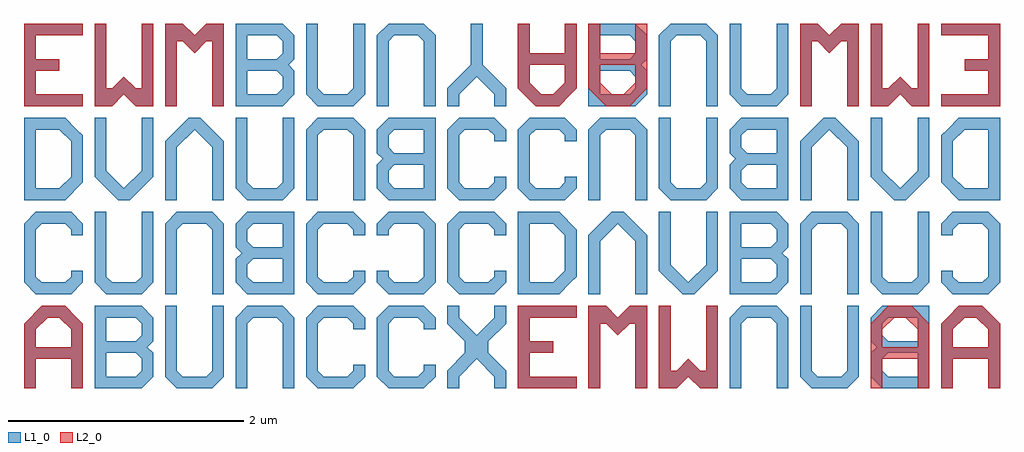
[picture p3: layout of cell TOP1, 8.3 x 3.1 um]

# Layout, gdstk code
from math import pi, radians
import gdstk
lib = gdstk.Library(unit=1e-6, precision=1e-09)
def P(c, l, *ps):  # polygons
    for p in ps: c.add(gdstk.Polygon(p, *l))
L1_0 = (1, 0)
L2_0 = (2, 0)

text_1 = lib.new_cell('TEXT$1')
P(text_1, L1_0, [(0,0),(0,0.55),(0.15,0.7),(0.35,0.7),(0.45,0.6),(0.2,0.6),(0.1,0.5),(0.1,0.35),(0.4,0.35),(0.4,0.5),(0.3,0.6),(0.45,0.6),(0.5,0.55),(0.5,0),(0.4,0),(0.4,0.25),(0.1,0.25),(0.1,0)])

text = lib.new_cell('TEXT')
P(text, L1_0, [(0,0),(0,0.7),(0.4,0.7),(0.5,0.6),(0.1,0.6),(0.1,0.4),(0.35,0.4),(0.4,0.45),(0.4,0.55),(0.35,0.6),(0.5,0.6),(0.5,0.4),(0.45,0.35),(0.5,0.3),(0.1,0.3),(0.1,0.1),(0.35,0.1),(0.4,0.15),(0.4,0.25),(0.35,0.3),(0.5,0.3),(0.5,0.1),(0.4,0)])

text_5 = lib.new_cell('TEXT$5')
P(text_5, L1_0, [(0.1,0),(0,0.1),(0,0.7),(0.1,0.7),(0.1,0.15),(0.15,0.1),(0.35,0.1),(0.4,0.15),(0.4,0.7),(0.5,0.7),(0.5,0.1),(0.4,0)])

c_u = lib.new_cell('U')
c_u.add(gdstk.Reference(text_5, (0,0)))

c_b = lib.new_cell('B')
c_b.add(gdstk.Reference(text, (0,0)))
c_b.add(gdstk.Reference(c_u, (0.6,0)))
c_b.add(gdstk.Reference(c_u, (1.7,0.7), rotation=pi))

text_2 = lib.new_cell('TEXT$2')
P(text_2, L1_0, [(0.1,0),(0,0.1),(0,0.6),(0.1,0.7),(0.4,0.7),(0.5,0.6),(0.5,0.5),(0.4,0.5),(0.4,0.55),(0.35,0.6),(0.15,0.6),(0.1,0.55),(0.1,0.15),(0.15,0.1),(0.35,0.1),(0.4,0.15),(0.4,0.2),(0.5,0.2),(0.5,0.1),(0.4,0)])

c_c = lib.new_cell('C')
c_c.add(gdstk.Reference(text_2, (0,0)))

text_3 = lib.new_cell('TEXT$3')
P(text_3, L1_0, [(0,0),(0,0.7),(0.35,0.7),(0.45,0.6),(0.1,0.6),(0.1,0.1),(0.3,0.1),(0.4,0.2),(0.4,0.5),(0.3,0.6),(0.45,0.6),(0.5,0.55),(0.5,0.15),(0.35,0)])

text_6 = lib.new_cell('TEXT$6')
P(text_6, L1_0, [(0.2,0),(0,0.2),(0,0.7),(0.1,0.7),(0.1,0.25),(0.25,0.1),(0.4,0.25),(0.4,0.7),(0.5,0.7),(0.5,0.2),(0.3,0)])

c_v = lib.new_cell('V')
c_v.add(gdstk.Reference(text_6, (0,0)))

c_d = lib.new_cell('D')
c_d.add(gdstk.Reference(text_3, (0,0)))
c_d.add(gdstk.Reference(c_v, (0.6,0)))
c_d.add(gdstk.Reference(c_v, (1.7,0.7), rotation=pi))

text_4 = lib.new_cell('TEXT$4')
P(text_4, L1_0, [(0,0),(0,0.7),(0.5,0.7),(0.5,0.6),(0.1,0.6),(0.1,0.4),(0.3,0.4),(0.3,0.3),(0.1,0.3),(0.1,0.1),(0.5,0.1),(0.5,0)])

text_7 = lib.new_cell('TEXT$7')
P(text_7, L1_0, [(0,0),(0,0.7),(0.1,0.7),(0.1,0.15),(0.15,0.15),(0.25,0.25),(0.35,0.15),(0.4,0.15),(0.4,0.7),(0.5,0.7),(0.5,0),(0.35,0),(0.25,0.1),(0.15,0)])

text_4_1 = lib.new_cell('TEXT$4$1')
P(text_4_1, L2_0, [(0,0),(0,0.7),(0.1,0.7),(0.1,0.15),(0.15,0.15),(0.25,0.25),(0.35,0.15),(0.4,0.15),(0.4,0.7),(0.5,0.7),(0.5,0),(0.35,0),(0.25,0.1),(0.15,0)])

c_w = lib.new_cell('W')
c_w.add(gdstk.Reference(text_7, (0,0)))
c_w.add(gdstk.Reference(text_4_1, (0,0)))

text_3_1 = lib.new_cell('TEXT$3$1')
P(text_3_1, L2_0, [(0,0),(0,0.7),(0.5,0.7),(0.5,0.6),(0.1,0.6),(0.1,0.4),(0.3,0.4),(0.3,0.3),(0.1,0.3),(0.1,0.1),(0.5,0.1),(0.5,0)])

c_e = lib.new_cell('E')
c_e.add(gdstk.Reference(text_4, (0,0)))
c_e.add(gdstk.Reference(c_w, (0.6,0)))
c_e.add(gdstk.Reference(c_w, (1.7,0.7), rotation=pi))
c_e.add(gdstk.Reference(text_3_1, (0,0)))

text_10_1 = lib.new_cell('TEXT$10$1')
P(text_10_1, L2_0, [(0,0),(0,0.55),(0.15,0.7),(0.35,0.7),(0.45,0.6),(0.2,0.6),(0.1,0.5),(0.1,0.35),(0.4,0.35),(0.4,0.5),(0.3,0.6),(0.45,0.6),(0.5,0.55),(0.5,0),(0.4,0),(0.4,0.25),(0.1,0.25),(0.1,0)])

c_a = lib.new_cell('A')
c_a.add(gdstk.Reference(text_1, (0,0)))
c_a.add(gdstk.Reference(c_b, (0.6,0)))
c_a.add(gdstk.Reference(c_b, (2.3,1.5), rotation=pi))
c_a.add(gdstk.Reference(c_c, (0,0.8)))
c_a.add(gdstk.Reference(c_d, (0,1.6)))
c_a.add(gdstk.Reference(c_e, (0,2.4)))
c_a.add(gdstk.Reference(text_10_1, (0,0)))

text_8 = lib.new_cell('TEXT$8')
P(text_8, L1_0, [(0,0),(0,0.15),(0.15,0.3),(0.15,0.4),(0,0.55),(0,0.7),(0.1,0.7),(0.1,0.6),(0.25,0.45),(0.4,0.6),(0.4,0.7),(0.5,0.7),(0.5,0.55),(0.35,0.4),(0.35,0.3),(0.5,0.15),(0.5,0),(0.4,0),(0.4,0.1),(0.25,0.25),(0.1,0.1),(0.1,0)])

text_9 = lib.new_cell('TEXT$9')
P(text_9, L1_0, [(0.2,0),(0.2,0.35),(0,0.55),(0,0.7),(0.1,0.7),(0.1,0.6),(0.25,0.45),(0.4,0.6),(0.4,0.7),(0.5,0.7),(0.5,0.55),(0.3,0.35),(0.3,0)])

text_6_1 = lib.new_cell('TEXT$6$1')
P(text_6_1, L1_0, [(0.2,0),(0.2,0.35),(0,0.55),(0,0.7),(0.1,0.7),(0.1,0.6),(0.25,0.45),(0.4,0.6),(0.4,0.7),(0.5,0.7),(0.5,0.55),(0.3,0.35),(0.3,0)])

text_8_1 = lib.new_cell('TEXT$8$1')
P(text_8_1, L2_0, [(0,0),(0,0.55),(0.15,0.7),(0.35,0.7),(0.45,0.6),(0.2,0.6),(0.1,0.5),(0.1,0.35),(0.4,0.35),(0.4,0.5),(0.3,0.6),(0.45,0.6),(0.5,0.55),(0.5,0),(0.4,0),(0.4,0.25),(0.1,0.25),(0.1,0)],
  [(0.6,0),(0.6,0.55),(0.75,0.7),(0.95,0.7),(1.05,0.6),(0.8,0.6),(0.7,0.5),(0.7,0.35),(1,0.35),(1,0.5),(0.9,0.6),(1.05,0.6),(1.1,0.55),(1.1,0),(1,0),(1,0.25),(0.7,0.25),(0.7,0)])

c_aa = lib.new_cell('AA')
c_aa.add(gdstk.Reference(text_8_1, (0,0)))

c_y = lib.new_cell('Y')
c_y.add(gdstk.Reference(text_9, (0,0)))
c_y.add(gdstk.Reference(c_a, (4.7,3.1), rotation=pi))
c_y.add(gdstk.Reference(c_a, (0.6,0)))
c_y.add(gdstk.Reference(text_6_1, (0,0)))
c_y.add(gdstk.Reference(c_aa, (4.7,3.1), rotation=pi))
c_y.add(gdstk.Reference(c_aa, (0.6,0)))

c_x = lib.new_cell('X')
c_x.add(gdstk.Reference(text_8, (0,0)))
c_x.add(gdstk.Reference(c_y, (0,3.1), x_reflection=True))

top1 = lib.new_cell('TOP1')
top1.add(gdstk.Reference(c_a, (0,0)))
top1.add(gdstk.Reference(c_b, (1.8,2.4)))
top1.add(gdstk.Reference(c_b, (3.5,2.3), rotation=pi))
top1.add(gdstk.Reference(c_c, (2.4,0.8)))
top1.add(gdstk.Reference(c_c, (3.5,1.5), rotation=pi))
top1.add(gdstk.Reference(c_x, (3.6,0)))
top1.add(gdstk.Reference(c_c, (3.6,1.6)))
top1.add(gdstk.Reference(c_c, (3.6,0.8)))
top1.add(gdstk.Reference(c_c, (2.4,0)))
top1.add(gdstk.Reference(c_c, (3,0)))

lib.write_gds('TOP1.gds')
